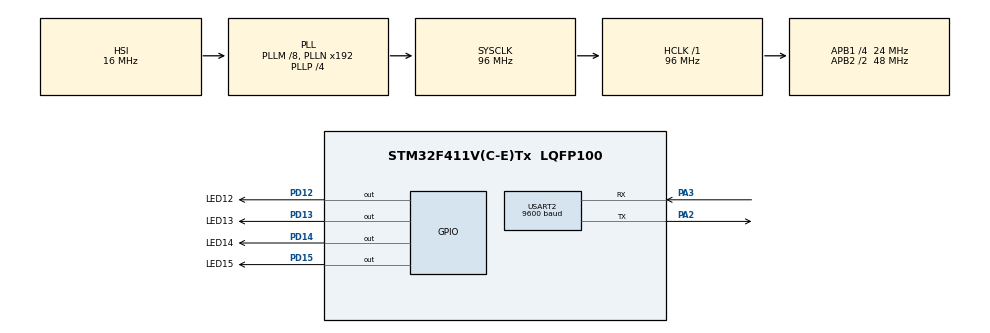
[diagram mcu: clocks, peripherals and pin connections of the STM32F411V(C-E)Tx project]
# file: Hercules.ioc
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Mcu.Family=STM32F4
Mcu.Name=STM32F411V(C-E)Tx
Mcu.Package=LQFP100
NVIC.PriorityGroup=NVIC_PRIORITYGROUP_0
PA2.Mode=Asynchronous
PA2.Signal=USART2_TX
PA3.Mode=Asynchronous
PA3.Signal=USART2_RX
PD12.GPIO_Label=LED12
PD12.Signal=GPIO_Output
PD13.GPIO_Label=LED13
PD13.Signal=GPIO_Output
PD14.GPIO_Label=LED14
PD14.Signal=GPIO_Output
PD15.GPIO_Label=LED15
PD15.Signal=GPIO_Output
PH0\ -\ OSC_IN.Mode=HSE-External-Oscillator
PH0\ -\ OSC_IN.Signal=RCC_OSC_IN
PH1\ -\ OSC_OUT.Mode=HSE-External-Oscillator
PH1\ -\ OSC_OUT.Signal=RCC_OSC_OUT
ProjectManager.HeapSize=0x200
ProjectManager.StackSize=0x400
ProjectManager.TargetToolchain=STM32CubeIDE
RCC.48MHZClocksFreq_Value=48000000
RCC.AHBFreq_Value=96000000
RCC.APB1CLKDivider=RCC_HCLK_DIV4
RCC.APB1Freq_Value=24000000
RCC.APB1TimFreq_Value=48000000
RCC.APB2CLKDivider=RCC_HCLK_DIV2
RCC.APB2Freq_Value=48000000
RCC.APB2TimFreq_Value=96000000
RCC.CortexFreq_Value=96000000
RCC.HCLKFreq_Value=96000000
RCC.HSE_VALUE=8000000
RCC.HSI_VALUE=16000000
RCC.LSE_VALUE=32768
RCC.PLLI2SM=5
RCC.PLLI2SN=200
RCC.PLLM=8
RCC.PLLP=RCC_PLLP_DIV4
RCC.PLLQ=8
RCC.SYSCLKFreq_VALUE=96000000
RCC.SYSCLKSource=RCC_SYSCLKSOURCE_PLLCLK
RCC.VCOOutputFreq_Value=384000000
USART2.BaudRate=9600
USART2.VirtualMode=VM_ASYNC
board=STM32F411E-DISCO

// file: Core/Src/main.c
/* USER CODE BEGIN Header */
/**
  ******************************************************************************
  * @file           : main.c
  * @brief          : Main program body
  ******************************************************************************
  * @attention
  *
  * Copyright (c) 2024 STMicroelectronics.
  * All rights reserved.
  *
  * This software is licensed under terms that can be found in the LICENSE file
  * in the root directory of this software component.
  * If no LICENSE file comes with this software, it is provided AS-IS.
  *
  ******************************************************************************
  */
/* USER CODE END Header */
#include "main.h"

/* USER CODE BEGIN Includes */
#include <stdio.h>
#include <string.h>
/* USER CODE END Includes */

UART_HandleTypeDef huart2;

/* USER CODE BEGIN PV */

uint32_t data_Rx=66;
uint32_t data_Tx=65;
uint8_t control=0;
//uint32_t word5[] ={65};
char word5[] = "merhaba";
uint32_t word5_count=0;
uint8_t len5=0;
uint8_t sizeof_len=0;

/* USER CODE END PV */

void SystemClock_Config(void);
static void MX_GPIO_Init(void);
static void MX_USART2_UART_Init(void);

int main(void)
{

  /* MCU Configuration--------------------------------------------------------*/

  /* Reset of all peripherals, Initializes the Flash interface and the Systick. */
  HAL_Init();

  /* Configure the system clock */
  SystemClock_Config();

  /* Initialize all configured peripherals */
  MX_GPIO_Init();
  MX_USART2_UART_Init();
  /* USER CODE BEGIN 2 */
  //USART2->DR='A';
  word5_count = sizeof(word5)/sizeof(word5[0]);
  len5=strlen(word5);
  sizeof_len = sizeof(word5);
  for (int var = 0; var < len5; ++var) {
	USART2->DR =word5[var];
	HAL_Delay(100);
}
  /* USER CODE END 2 */

  /* Infinite loop */
  /* USER CODE BEGIN WHILE */
	while (1) {
		data_Rx = USART2->DR;
		if(data_Rx==65 || data_Rx==66 ){
			HAL_GPIO_TogglePin(LED12_GPIO_Port,LED12_Pin);
			USART2->DR=data_Rx;
			HAL_Delay(100);

		}
		HAL_GPIO_TogglePin(LED15_GPIO_Port,LED15_Pin);
		HAL_Delay(1000);
		//USART2->DR = 67;
/*
		data_Rx = USART2->DR;
		while(USART2->SR & USART_SR_RXNE){
			HAL_GPIO_TogglePin(LED15_GPIO_Port,LED15_Pin);
			//data_Rx = USART2->DR;
			HAL_Delay(100);
			USART2->DR=data_Rx;
			HAL_Delay(100);
			USART2->CR1 &=~(USART_CR1_TE);
		}
		USART2->CR1 |=(USART_CR1_TE);
		*///data_Rx = USART2->DR;

		//USART2->DR='Z';
		/*if (control < 12) {
			HAL_GPIO_WritePin(LED15_GPIO_Port, LED15_Pin, GPIO_PIN_SET);
			data_Rx = USART2->DR;
			if(control<2){
			data_Rx = 68;
			}
			else {
				data_Rx=0x0A;
			}
			data_Tx = data_Rx;
			HAL_Delay(500);
			USART2->DR = data_Tx;
			HAL_GPIO_WritePin(LED15_GPIO_Port, LED15_Pin, GPIO_PIN_RESET);
			HAL_Delay(500);
			control++;

		}*/

    /* USER CODE END WHILE */

  }
}

void SystemClock_Config(void)
{
  RCC_OscInitTypeDef RCC_OscInitStruct = {0};
  RCC_ClkInitTypeDef RCC_ClkInitStruct = {0};

  /** Configure the main internal regulator output voltage
  */
  __HAL_RCC_PWR_CLK_ENABLE();
  __HAL_PWR_VOLTAGESCALING_CONFIG(PWR_REGULATOR_VOLTAGE_SCALE1);

  /** Initializes the RCC Oscillators according to the specified parameters
  * in the RCC_OscInitTypeDef structure.
  */
  RCC_OscInitStruct.OscillatorType = RCC_OSCILLATORTYPE_HSI;
  RCC_OscInitStruct.HSIState = RCC_HSI_ON;
  RCC_OscInitStruct.HSICalibrationValue = RCC_HSICALIBRATION_DEFAULT;
  RCC_OscInitStruct.PLL.PLLState = RCC_PLL_ON;
  RCC_OscInitStruct.PLL.PLLSource = RCC_PLLSOURCE_HSI;
  RCC_OscInitStruct.PLL.PLLM = 8;
  RCC_OscInitStruct.PLL.PLLN = 192;
  RCC_OscInitStruct.PLL.PLLP = RCC_PLLP_DIV4;
  RCC_OscInitStruct.PLL.PLLQ = 8;
  if (HAL_RCC_OscConfig(&RCC_OscInitStruct) != HAL_OK)
  {
    Error_Handler();
  }

  /** Initializes the CPU, AHB and APB buses clocks
  */
  RCC_ClkInitStruct.ClockType = RCC_CLOCKTYPE_HCLK|RCC_CLOCKTYPE_SYSCLK
                              |RCC_CLOCKTYPE_PCLK1|RCC_CLOCKTYPE_PCLK2;
  RCC_ClkInitStruct.SYSCLKSource = RCC_SYSCLKSOURCE_PLLCLK;
  RCC_ClkInitStruct.AHBCLKDivider = RCC_SYSCLK_DIV1;
  RCC_ClkInitStruct.APB1CLKDivider = RCC_HCLK_DIV4;
  RCC_ClkInitStruct.APB2CLKDivider = RCC_HCLK_DIV2;

  if (HAL_RCC_ClockConfig(&RCC_ClkInitStruct, FLASH_LATENCY_3) != HAL_OK)
  {
    Error_Handler();
  }
}

static void MX_USART2_UART_Init(void)
{

  huart2.Instance = USART2;
  huart2.Init.BaudRate = 9600;
  huart2.Init.WordLength = UART_WORDLENGTH_8B;
  huart2.Init.StopBits = UART_STOPBITS_1;
  huart2.Init.Parity = UART_PARITY_NONE;
  huart2.Init.Mode = UART_MODE_TX_RX;
  huart2.Init.HwFlowCtl = UART_HWCONTROL_NONE;
  huart2.Init.OverSampling = UART_OVERSAMPLING_16;
  if (HAL_UART_Init(&huart2) != HAL_OK)
  {
    Error_Handler();
  }

}

static void MX_GPIO_Init(void)
{
  GPIO_InitTypeDef GPIO_InitStruct = {0};

  /* GPIO Ports Clock Enable */
  __HAL_RCC_GPIOH_CLK_ENABLE();
  __HAL_RCC_GPIOA_CLK_ENABLE();
  __HAL_RCC_GPIOD_CLK_ENABLE();

  /*Configure GPIO pin Output Level */
  HAL_GPIO_WritePin(GPIOD, LED12_Pin|LED13_Pin|LED14_Pin|LED15_Pin, GPIO_PIN_RESET);

  /*Configure GPIO pins : LED12_Pin LED13_Pin LED14_Pin LED15_Pin */
  GPIO_InitStruct.Pin = LED12_Pin|LED13_Pin|LED14_Pin|LED15_Pin;
  GPIO_InitStruct.Mode = GPIO_MODE_OUTPUT_PP;
  GPIO_InitStruct.Pull = GPIO_NOPULL;
  GPIO_InitStruct.Speed = GPIO_SPEED_FREQ_LOW;
  HAL_GPIO_Init(GPIOD, &GPIO_InitStruct);

}

void Error_Handler(void)
{
  __disable_irq();
  while (1)
  {
  }
}
